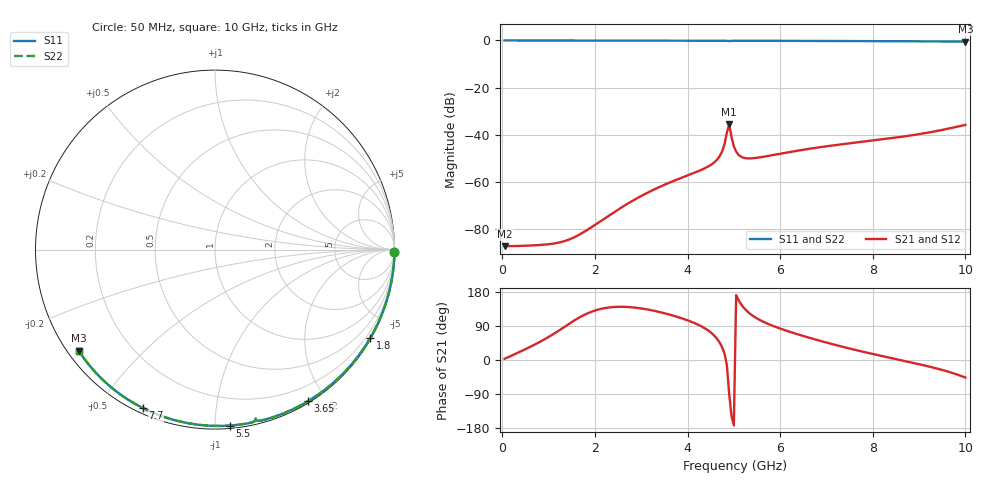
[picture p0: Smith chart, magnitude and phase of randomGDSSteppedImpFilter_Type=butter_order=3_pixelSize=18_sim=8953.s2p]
! freq	dB(S11)	phase(S11)	dB(S12)	phase(S12)
!  dB(S21)	phase(S21)	dB(S22)	phase(S22)
!S-par simulation data
#  GHz  S  DB  R 50
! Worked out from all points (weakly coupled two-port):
!   200 points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, 50 MHz to 10 GHz, reference 50 ohm
!   highest |S21| = -35.64 dB at 4.9 GHz (marker M1); lowest = -87.4 dB at 50 MHz (marker M2)
!   lowest |S11| = -0.5 dB at 10 GHz (marker M3), VSWR 35.60, Z = 1.56 - j16.5 ohm
!   |S11| at or under -10 dB: nowhere
!   |S22| runs from -0.5 to 0.0 dB; largest |S21 - S12| = 0
!   S11 on the Smith chart (normalised r, x): 50 MHz: open; 1.8 GHz: 0.03, -3.79; 3.65 GHz: 0.02, -1.79; 5.5 GHz: 0.02, -1.09; 7.7 GHz: 0.02, -0.64; 10 GHz: 0.03, -0.33
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0.05  -0.00 -0.8  -87.44 3.4  -87.44 3.4  -0.00 -0.8
1.75  -0.04 -28.7  -81.57 117.8  -81.57 117.8  -0.04 -28.7
1.8  -0.04 -29.5  -80.96 120.8  -80.96 120.8  -0.04 -29.5
1.9  -0.04 -31.1  -79.71 126.1  -79.71 126.1  -0.04 -31.1
2.75  -0.06 -44.6  -68.87 139.6  -68.87 139.6  -0.06 -44.6
3.4  -0.07 -54.6  -62.22 126.4  -62.22 126.4  -0.07 -54.6
3.65  -0.08 -58.4  -60.09 118.4  -60.09 118.4  -0.08 -58.4
4.35  -0.10 -68.8  -54.54 85.3  -54.54 85.3  -0.10 -68.8
4.6  -0.11 -72.5  -51.42 61.3  -51.42 61.3  -0.11 -72.5
4.75  -0.12 -74.8  -47.01 33.0  -47.01 33.0  -0.12 -74.8
4.8  -0.13 -75.6  -44.00 16.4  -44.00 16.4  -0.13 -75.6
4.85  -0.18 -76.5  -39.12 -13.9  -39.12 -13.9  -0.18 -76.5
4.9  -0.28 -76.5  -35.64 -90.6  -35.64 -90.6  -0.28 -76.5
4.95  -0.17 -76.9  -41.07 -148.0  -41.07 -148.0  -0.17 -76.9
5  -0.14 -77.8  -45.00 -172.7  -45.00 -172.7  -0.14 -77.8
5.05  -0.13 -78.6  -47.26 171.0  -47.26 171.0  -0.13 -78.6
5.2  -0.13 -80.8  -49.81 140.1  -49.81 140.1  -0.13 -80.8
5.5  -0.14 -85.1  -49.86 109.6  -49.86 109.6  -0.14 -85.1
6.7  -0.20 -101.4  -45.84 56.2  -45.84 56.2  -0.20 -101.4
7.7  -0.26 -114.5  -43.25 24.3  -43.25 24.3  -0.26 -114.5
8.35  -0.32 -122.8  -41.68 6.4  -41.68 6.4  -0.32 -122.8
10  -0.49 -143.4  -35.88 -46.4  -35.88 -46.4  -0.49 -143.4
